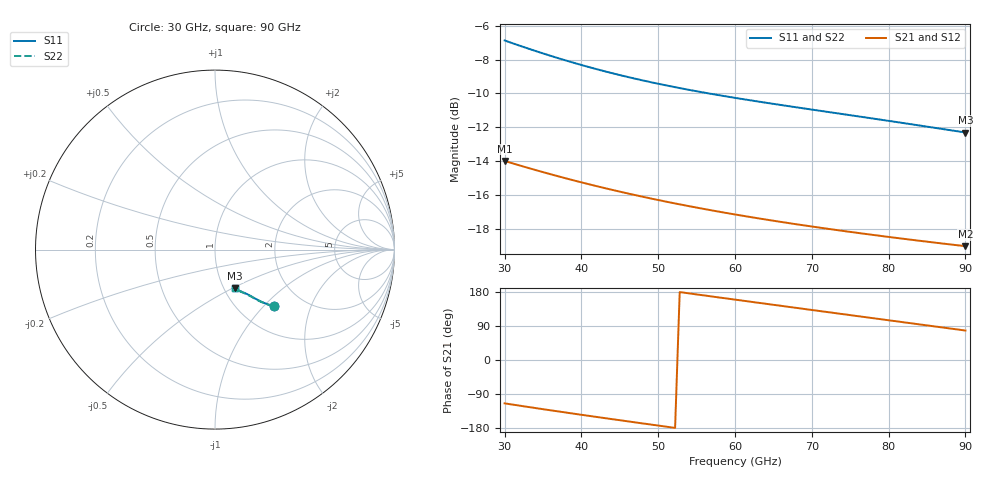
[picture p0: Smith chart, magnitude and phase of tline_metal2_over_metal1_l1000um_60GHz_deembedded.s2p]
! Created with skrf 2.2.0 (http://scikit-rf.org).
# GHz S DB R 50.0
! Port[1] = P1
! Port[2] = P2
!freq dBS11 angS11 dBS21 angS21 dBS12 angS12 dBS22 angS22
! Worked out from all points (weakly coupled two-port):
!   101 points, 30 GHz to 90 GHz, reference 50 ohm
!   highest |S21| = -13.98 dB at 30 GHz (marker M1); lowest = -19.0 dB at 90 GHz (marker M2)
!   lowest |S11| = -12.3 dB at 90 GHz (marker M3), VSWR 1.64, Z = 56.4 - j25.8 ohm
!   |S11| at or under -10 dB: 56.61 GHz to end of sweep
!   |S22| runs from -12.3 to -6.9 dB; largest |S21 - S12| = 1.4e-16
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30  -6.87 -43.8  -13.98 -114.4  -13.98 -114.4  -6.87 -43.9
32.4  -7.25 -45.2  -14.31 -121.9  -14.31 -121.9  -7.24 -45.4
34.8  -7.61 -46.5  -14.62 -129.2  -14.62 -129.2  -7.60 -46.7
37.2  -7.95 -47.6  -14.92 -136.3  -14.92 -136.3  -7.94 -47.8
40.2  -8.34 -48.7  -15.27 -145.1  -15.27 -145.1  -8.34 -49.0
42.6  -8.64 -49.5  -15.54 -152.1  -15.54 -152.1  -8.63 -49.8
45  -8.91 -50.3  -15.79 -158.9  -15.79 -158.9  -8.91 -50.5
47.4  -9.17 -50.9  -16.04 -165.7  -16.04 -165.7  -9.16 -51.2
50.4  -9.47 -51.7  -16.33 -174.1  -16.33 -174.1  -9.46 -52.0
52.8  -9.68 -52.3  -16.55 179.2  -16.55 179.2  -9.68 -52.6
55.2  -9.89 -52.9  -16.75 172.6  -16.75 172.6  -9.88 -53.2
60  -10.26 -54.1  -17.14 159.3  -17.14 159.3  -10.25 -54.5
63  -10.48 -54.9  -17.37 151.1  -17.37 151.1  -10.47 -55.3
65.4  -10.64 -55.6  -17.54 144.6  -17.54 144.6  -10.63 -56.0
70.2  -10.96 -56.9  -17.87 131.5  -17.87 131.5  -10.96 -57.4
73.2  -11.16 -57.8  -18.06 123.3  -18.06 123.3  -11.16 -58.3
75.6  -11.32 -58.5  -18.21 116.8  -18.21 116.8  -11.31 -59.0
78  -11.48 -59.2  -18.35 110.3  -18.35 110.3  -11.47 -59.7
80.4  -11.64 -59.9  -18.49 103.8  -18.49 103.8  -11.64 -60.4
82.8  -11.81 -60.6  -18.63 97.3  -18.63 97.3  -11.80 -61.1
85.2  -11.97 -61.3  -18.76 90.8  -18.76 90.8  -11.96 -61.8
90  -12.30 -62.5  -19.01 77.8  -19.01 77.8  -12.30 -63.1
